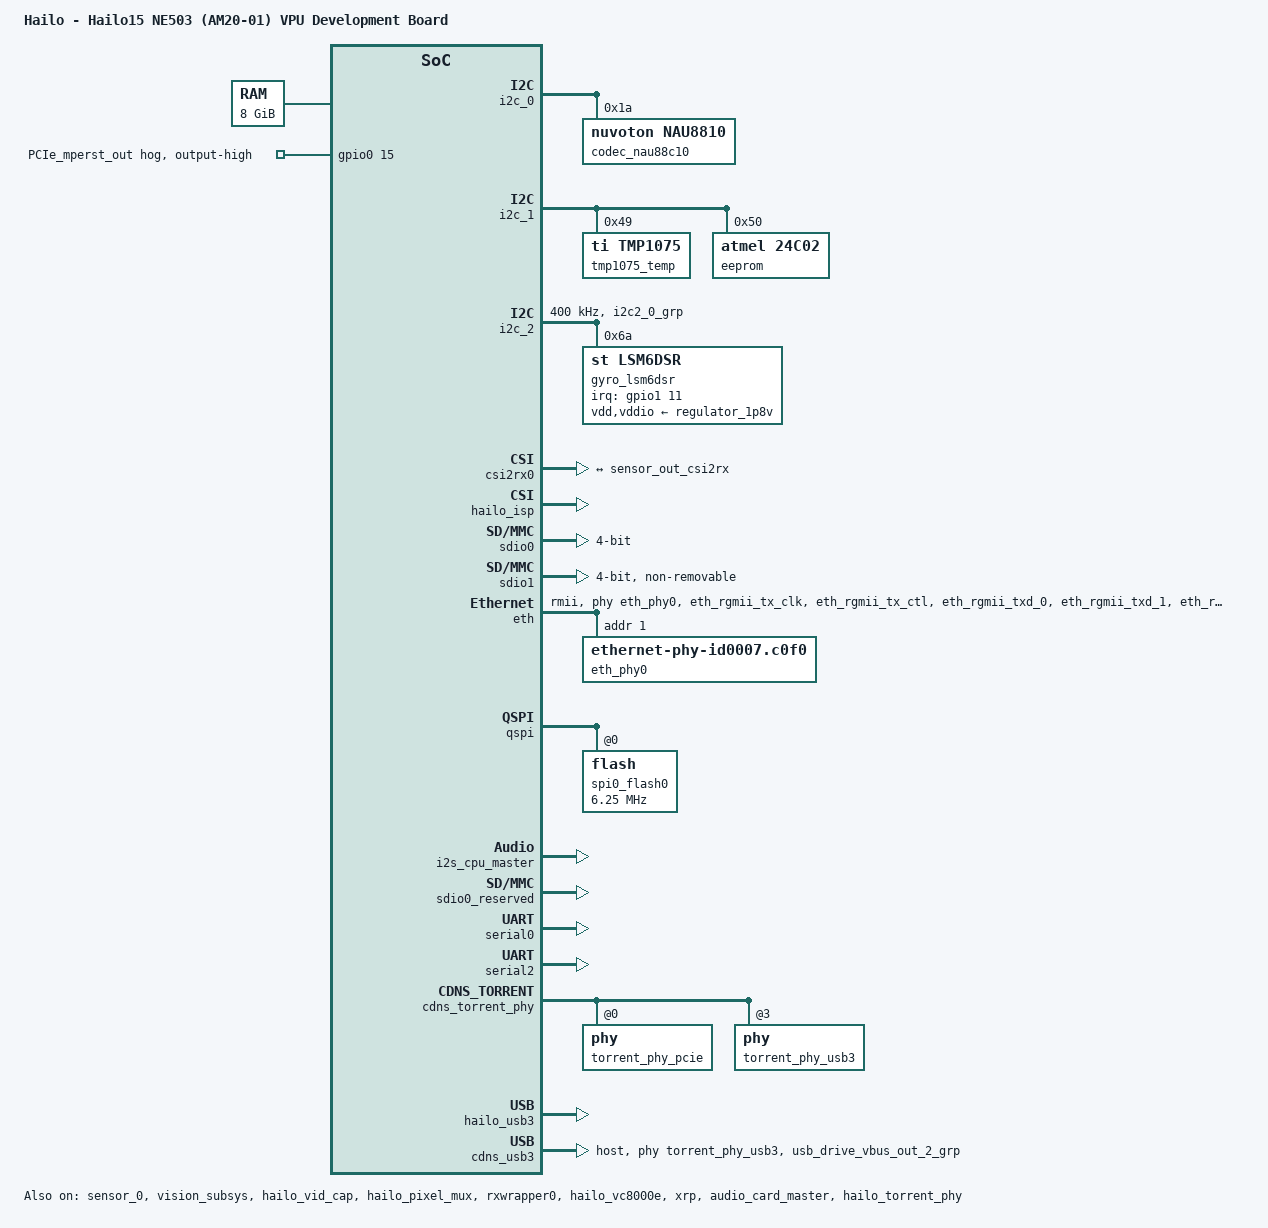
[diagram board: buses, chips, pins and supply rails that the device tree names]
// SPDX-License-Identifier:     GPL-2.0
/*
 * Hailo15 NE503 (AM20-01-V1.0), aligned to hailo15-sbc-rev3-1.
 * With interface board CF66-01-V1.0: TF card on SDIO0 (VDD_SDCARD select on GPIO17),
 * NAU88C10 audio on I2C0 + I2S (H_I2C0_*, H_I2S_*).
 * Copyright (c) 2019-2025 Hailo Technologies Ltd. All rights reserved.
 */

/dts-v1/;
#include "hailo15-base.dtsi"
#include <dt-bindings/gpio/gpio.h>

/ {
	model = "Hailo - Hailo15 NE503 (AM20-01) VPU Development Board";

	memory {
		device_type = "memory";
		reg = <0x00 0x00000000 0x02 0x00000000>;
	};
};

&i2c_0 {
	status = "ok";
	i2c-sda-falling-time-ns = <1000>;

	/* CF66-01: NAU88C10 on H_I2C0; use NAU8810 driver (nuvoton,nau8810) for compatibility */
	codec_nau88c10: nau88c10@1a {
		#sound-dai-cells = <0>;
		compatible = "nuvoton,nau8810", "nuvoton,nau88c10";
		reg = <0x1a>;
	};

};

/*
 * v1.13 base leaves sensor_0 without compatible (filled by U-Boot overlays on
 * official SBCs). NE503 has no SENSOR_DETECT path yet, and I2C0 0x1a is the
 * NAU88C10 codec — keep addr 0x10 and restore the 1.12-style candidate list.
 */
&sensor_0 {
	status = "okay";
	compatible = "sony,imx334", "sony,imx664", "sony,imx675", "sony,imx678", "sony,imx715", "sony,imx307";
	reg = <0x10>;
	clock-frequency = <24000000>;
	reset-gpios = <&gpio0 8 GPIO_ACTIVE_HIGH>;
	xmaster-gpios = <&gpio0 3 GPIO_ACTIVE_HIGH>;
};

&sensor_out_csi2rx {
	link-frequencies = /bits/ 64 <720000000 891000000 111370000 1188000000 1440000000 1782000000 222750000>;
};

&i2c_1 {
	status = "ok";
	i2c-sda-falling-time-ns = <1000>;

	tmp1075_temp: tmp1075@49 {
		compatible = "ti,tmp1075";
		reg = <0x49>;
	};

	eeprom: eeprom@50 {
		compatible = "atmel,24c02";
		reg = <0x50>;
	};
};

&i2c_2 {
	status = "okay";
	i2c-sda-falling-time-ns = <190>;
	clock-frequency = <400000>;
	pinctrl-names = "default";
	pinctrl-0 = <&pinctrl_i2c2>;
	gyro_lsm6dsr: lsm6dsr@6a {
		status = "okay";
		compatible = "st,lsm6dsr";
		reg = <0x6a>;
		vdd-supply = <&regulator_1p8v>;
		vddio-supply = <&regulator_1p8v>;
		interrupt-parent = <&gpio1>;
		interrupts = <11 IRQ_TYPE_LEVEL_HIGH>;
		pinctrl-names = "default";
		pinctrl-0 = <&pinctrl_gpio27>;
	};
};

&csi2rx0 {
	status = "ok";
	ports {
		port@0 {
			csi2rx_in_sensor: endpoint {
				remote-endpoint = <&sensor_out_csi2rx>;
			};
		};
	};
};

&csi2rx1 {
	status = "disabled";
};

&vision_subsys {
	status = "okay";
};

&hailo_vid_cap {
	status = "ok";
};

&hailo_isp {
	status = "ok";
};

&hailo_pixel_mux {
	status = "ok";
};

&rxwrapper0 {
	status = "ok";
};

&hailo_vc8000e {
	status = "ok";
};

&xrp {
	status = "okay";
};

&xrp_reserved {
	status = "okay";
};

/* NE503+CF66: TF card on interface board; GPIO17 = VDD_SDCARD select (CF66-01 p.9) */
&sdio0 {
	status = "okay";
	bus-width = <4>;
	broken-cd;
	sd-vsel-gpio = <&gpio1 1 GPIO_ACTIVE_HIGH>;
	sd-vsel-polarity-high;
	sdhci-caps = <0x00000000 0x01000000>;
	/* Force VOLT33, disable UHS modes, and cap clock for stable operation */
	sdhci-caps-mask = <0x00000007 0x00000000>;
	max-frequency = <25000000>;
	phy-config {
		card-is-emmc = <0x0>;
		cmd-pad-values = <0x1 0x3 0x1 0x1>;
		dat-pad-values = <0x1 0x3 0x1 0x1>;
		rst-pad-values = <0x1 0x3 0x1 0x1>;
		clk-pad-values = <0x1 0x3 0x0 0x1>;
		sdclkdl-cnfg = <0x1 0x13>;
		drive-strength = <0x8 0x4>;
	};
};

&sdio1 {
	status = "okay";
	non-removable;
	bus-width = <4>;
	phy-config {
		card-is-emmc = <0x1>;
		cmd-pad-values = <0x2 0x2 0x1 0x1>;
		dat-pad-values = <0x2 0x2 0x1 0x1>;
		rst-pad-values = <0x2 0x2 0x1 0x1>;
		clk-pad-values = <0x2 0x2 0x0 0x0>;
		sdclkdl-cnfg = <0x0 0x2C>;
		drive-strength = <0x9 0x7>;
	};
};

/* AM20-01: RMII + LAN8720AI (actual PHY address 0x01 confirmed via MDIO scan) */
&eth {
	status = "ok";
	phy-mode = "rmii";
	phy-handle = <&eth_phy0>;
	pinctrl-names = "default";
	pinctrl-0 = <&pinctrl_eth>;
	eth_phy0: ethernet-phy@1 {
		compatible = "ethernet-phy-id0007.c0f0";
		reg = <1>;
	};
};

/* AM20-01: 8MB QSPI (e.g. IS25WP064D), CS0 only */
&qspi {
	status = "ok";
	spi0_flash0: flash@0 {
		spi-max-frequency = <6250000>;
		cdns,read-delay = <7>;
		cdns,tshsl-ns = <30>;
		cdns,tsd2d-ns = <30>;
		cdns,tchsh-ns = <5>;
		cdns,tslch-ns = <3>;
	};
};

/* CF66-01: NAU88C10 on I2C0 + I2S (H_I2S_*, 12.288MHz MCLK) */
&i2s_cpu_master {
	status = "okay";
	rx-sample-pace-pattern-repetitions = <2>;
	rx-sample-pace = <64 64 64>;
	rx-sample-cmp-to = "prev-val";
	tx-sample-offset = <81>;
	tx-sample-pace = <63>;
};

&audio_card_master {
	status = "ok";
	simple-audio-card,bitclock-master = <&cpu_dai_master>;
	simple-audio-card,frame-master = <&cpu_dai_master>;
	cpu_dai_master: simple-audio-card,cpu {
		sound-dai = <&i2s_cpu_master>;
		system-clock-frequency = <12288000>;
		system-clock-direction-out;
	};
	codec_dai_master: simple-audio-card,codec {
		sound-dai = <&codec_nau88c10>;
		system-clock-frequency = <12288000>;
	};
};

/* Slave TX/RX I2S controllers share the same IRQ as master;
 * the designware-i2s driver does not support IRQF_SHARED,
 * so only the master controller can be active.
 * Master handles both TX and RX via SCU DMA — sufficient for NAU88C10. */

&sdio0_reserved {
	status = "ok";
};

&serial0 {
	status = "ok";
};

/* CF66: UART2 to STM32G0 (Radar, IR, Alarm, RS-485, Wiegand, LENS protocol) */
&serial2 {
	status = "ok";
};

&pinctrl {
	pinctrl_eth: eth {
		pins = "eth_rgmii_tx_clk",
		       "eth_rgmii_tx_ctl",
		       "eth_rgmii_txd_0",
		       "eth_rgmii_txd_1",
		       "eth_rgmii_txd_2",
		       "eth_rgmii_txd_3";
		drive-strength = <2>;
	};

	pinctrl_i2c2: i2c2 {
		function = "i2c2";
		groups = "i2c2_0_grp";
	};

	pinctrl_usb_overcurrent_n_in: pinctrl_usb_overcurrent_n_in {
		status = "disabled"; /* relevant to USB overcurrent detection is not supported */
		function = "usb_overcurrent_in";
		groups = "usb_overcurrent_in_grp";
	};

	pinctrl_usb_drive_vbus_out: pinctrl_usb_drive_vbus_out {
		function = "usb_drive_vbus_out";
		groups = "usb_drive_vbus_out_2_grp";
	};

	pinctrl_gpio27: gpio27 {
		function = "gpio";
		groups = "gpio27_grp";
	};
};

/* AM20-01/CF66: pin names; GPIO17 = sdcard_vdd_sel (CF66 TF card) */
#define GPIO_LINE_NAMES \
	"gpio_in_out_0",            "gpio_in_out_1",            "gpio_in_out_2",            "gpio_in_out_3", \
	"gpio_in_out_4",            "gpio_in_out_5",            "gpio_in_out_6",            "gpio_in_out_7", \
	"cam0_reset_n",             "sdio0_gp_in",              "sdio0_cd_in",              "usb_overcurrent_n_in", \
	"usb_drive_vbus_out",       "sdio1_gp_in",              "sdio1_cd_in_n",            "PCIe_mperst_out", \
	\
	"gpio_in_out_16",           "sdcard_vdd_sel",            "timer_ext_in0",            "timer_ext_in1", \
	"shut_down_out",            "user_LED",                 "gpio_in_out_22",           "gpio_in_out_23", \
	"i2c2_current_src_en_out",  "i2c0_current_src_en_out",  "i2c1_current_src_en_out",  "gyro_int", \
	"ir_cut_en",                "gpio_in_out_29",           "uart0_cts_pad_in",         "uart0_rts_pad_out"

&gpio0 {
	gpio-ranges = <&pinctrl 0 0 16>;
	gpio-line-names = GPIO_LINE_NAMES;

	/* J1(M.2): RST GPIO15 Active-Low; output-high de-asserts PERST# */
	pin_M2_perst_n {
		gpio-hog;
		gpios = <15 0>;
		output-high;
		line-name = "PCIe_mperst_out";
	};
};

&gpio1 {
	gpio-ranges = <&pinctrl 0 16 16>;
	gpio-line-names = GPIO_LINE_NAMES;
};

&hailo_torrent_phy {
	status = "okay";
	usb-lane = <3>;
	usb-lane-pma-pll-full-rate-divider = <PCI_PMA_PLL_FULL_RATE_CLK_DIVIDER_4>;
	lanes-config = <PCI_PHY_LINK_LANES_CFG__2x1_PLUS_1x2__MASTER_LANES_LN0_LN2_LN3>;
};

&cdns_torrent_phy {
	torrent_phy_pcie: phy@0 {
		reg = <0>;
		resets = <&scmi_reset HAILO15_SCMI_RESET_IDX_PCIE_PHY_LANE_0>, <&scmi_reset HAILO15_SCMI_RESET_IDX_PCIE_PHY_LANE_1>;
		#phy-cells = <0>;
		cdns,phy-type = <PHY_TYPE_PCIE>;
		cdns,num-lanes = <2>;
	};
	torrent_phy_usb3: phy@3 {
		reg = <3>;
		resets = <&scmi_reset HAILO15_SCMI_RESET_IDX_PCIE_PHY_LANE_3>;
		#phy-cells = <0>;
		cdns,phy-type = <PHY_TYPE_USB3>;
		cdns,num-lanes = <1>;
		cdns,ssc-mode = <TORRENT_SERDES_NO_SSC>;
	};
};

&hailo_usb3 {
	status = "okay";
	/* Override OC pin in SW so controller never reports over-current (avoids IRQ storm / high CPU) */
	disconnected-overcurrent;
};

&cdns_usb3 {
	dr_mode = "host";
	phys = <&torrent_phy_usb3>;
	phy-names = "cdns3,usb3-phy";
	pinctrl-names = "default";
    pinctrl-0 = <&pinctrl_usb_drive_vbus_out>;
};

&reserved_memory {
	hailo_media_buf_cma: hailo_media_buf,cma {
		reg = <0 0x88000000 0 0x30000000>;
	};
};
